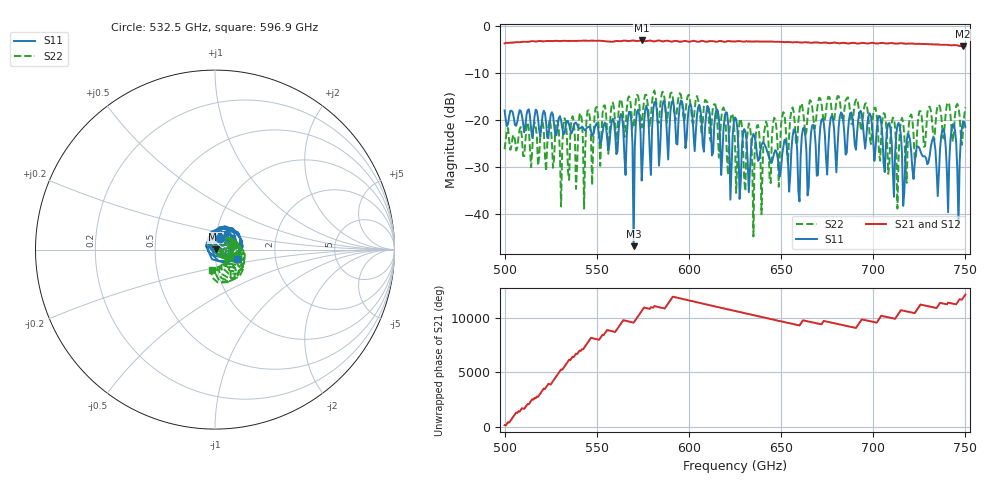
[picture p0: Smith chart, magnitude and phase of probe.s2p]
!Created with skrf (http://scikit-rf.org).
# GHz S RI R 50.0
!freq ReS11 ImS11 ReS21 ImS21 ReS12 ImS12 ReS22 ImS22
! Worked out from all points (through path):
!   401 points, 500 GHz to 750 GHz, reference 50 ohm
!   highest |S21| = -3.16 dB at 574.4 GHz (marker M1); lowest = -4.4 dB at 748.8 GHz (marker M2)
!   lowest |S11| = -46.8 dB at 570 GHz (marker M3), VSWR 1.01, Z = 50.4 + j0.145 ohm
!   |S11| at or under -10 dB: start of sweep to end of sweep
!   |S22| runs from -44.7 to -13.8 dB; largest |S21 - S12| = 5.6e-16
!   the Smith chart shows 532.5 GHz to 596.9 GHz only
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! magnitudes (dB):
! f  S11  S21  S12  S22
! 500 GHz  -18.0  -3.8  -3.8  -26.2
! 541.9 GHz  -21.6  -3.2  -3.2  -19.9
! 567.5 GHz  -18.3  -3.3  -3.3  -15.0
! 570 GHz  -46.8  -3.2  -3.2  -21.8
! 572.5 GHz  -17.8  -3.3  -3.3  -15.0
! 574.4 GHz  -32.9  -3.2  -3.2  -21.6
! 583.8 GHz  -29.7  -3.2  -3.2  -20.6
! 609.4 GHz  -18.7  -3.4  -3.4  -15.9
! 622.5 GHz  -36.9  -3.3  -3.3  -20.0
! 625 GHz  -19.5  -3.4  -3.4  -24.9
! 628.1 GHz  -33.0  -3.3  -3.3  -19.7
! 635 GHz  -23.0  -3.4  -3.4  -44.7
! 660 GHz  -37.3  -3.6  -3.6  -18.0
! 666.9 GHz  -21.2  -3.6  -3.6  -17.2
! 708.8 GHz  -20.7  -3.7  -3.7  -29.4
! 716.9 GHz  -35.3  -3.8  -3.8  -23.3
! 738.1 GHz  -21.9  -4.1  -4.1  -23.9
! 740.6 GHz  -39.6  -4.1  -4.1  -16.3
! 743.1 GHz  -20.9  -4.2  -4.2  -24.6
! 746.2 GHz  -42.2  -4.3  -4.3  -17.3
! 748.8 GHz  -20.3  -4.4  -4.4  -22.2
! 750 GHz  -21.5  -4.4  -4.4  -17.4
